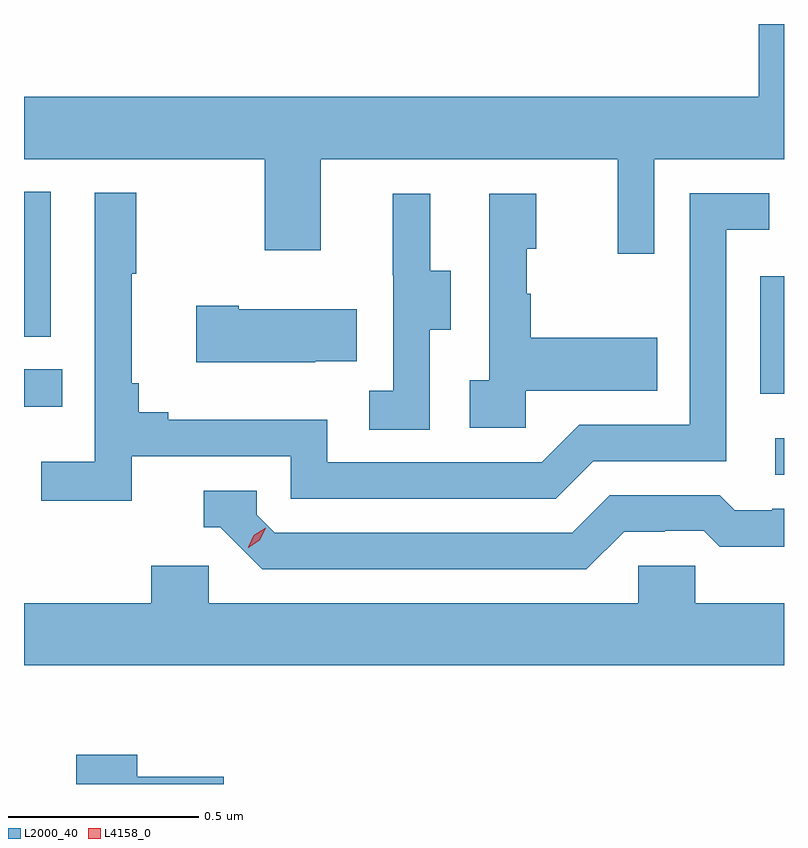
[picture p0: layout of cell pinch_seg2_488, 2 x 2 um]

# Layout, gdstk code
import gdstk
lib = gdstk.Library(unit=1e-6, precision=1e-09)
def R(c, l, rs):  # rectangles x0, y0, x1, y1
    for r in rs: c.add(gdstk.rectangle(r[:2], r[2:], *l))
def P(c, l, *ps):  # polygons
    for p in ps: c.add(gdstk.Polygon(p, *l))
L2000_40 = (2000, 40)
L4158_0 = (4158, 0)

pinch_seg2_488 = lib.new_cell('pinch_seg2_488')
R(pinch_seg2_488, L2000_40, [(943.503,594.858,943.526,594.954), (941.526,595.037,941.627,595.136), (943.464,595.071,943.526,595.38), (941.526,595.221,941.596,595.603)])
P(pinch_seg2_488, L2000_40, [(943.185,595.688),(943.526,595.688),(943.526,596.044),(943.46,596.044),(943.46,595.852),(941.526,595.852),(941.526,595.688),(942.16,595.688),(942.16,595.449),(942.307,595.449),(942.307,595.688),(943.088,595.688),(943.088,595.44),(943.185,595.44)],
  [(941.81,594.906),(942.228,594.906),(942.228,594.795),(942.925,594.795),(943.024,594.894),(943.374,594.894),(943.374,595.503),(943.487,595.503),(943.487,595.599),(943.278,595.599),(943.278,594.99),(942.987,594.99),(942.888,594.891),(942.324,594.891),(942.324,595.003),(941.905,595.003),(941.905,595.022),(941.828,595.022),(941.828,595.099),(941.809,595.099),(941.809,595.387),(941.821,595.387),(941.821,595.6),(941.712,595.6),(941.712,594.892),(941.571,594.892),(941.571,594.79),(941.81,594.79)],
  [(942.846,595.079),(943.193,595.079),(943.193,595.219),(942.859,595.219),(942.859,595.334),(942.849,595.334),(942.849,595.452),(942.874,595.452),(942.874,595.597),(942.75,595.597),(942.75,595.106),(942.699,595.106),(942.699,594.981),(942.846,594.981)],
  [(942.594,595.24),(942.649,595.24),(942.649,595.395),(942.595,595.395),(942.595,595.597),(942.497,595.597),(942.497,595.383),(942.498,595.383),(942.498,595.079),(942.435,595.079),(942.435,594.976),(942.594,594.976)],
  [(942.293,595.157),(942.401,595.157),(942.401,595.294),(942.091,595.294),(942.091,595.302),(941.979,595.302),(941.979,595.154),(942.293,595.154)],
  [(943.105,594.708),(943.212,594.708),(943.212,594.711),(943.315,594.711),(943.357,594.669),(943.526,594.669),(943.526,594.768),(943.495,594.768),(943.495,594.765),(943.396,594.765),(943.357,594.804),(943.068,594.804),(942.969,594.705),(942.186,594.705),(942.138,594.753),(942.138,594.816),(941.999,594.816),(941.999,594.72),(942.042,594.72),(942.153,594.609),(943.006,594.609)],
  [(943.526,594.52),(943.293,594.52),(943.293,594.618),(943.143,594.618),(943.143,594.52),(942.012,594.52),(942.012,594.618),(941.861,594.618),(941.861,594.52),(941.526,594.52),(941.526,594.356),(943.526,594.356)],
  [(942.052,594.063),(941.824,594.063),(941.824,594.121),(941.663,594.121),(941.663,594.044),(942.052,594.044)])
P(pinch_seg2_488, L4158_0, [(942.116,594.666),(942.116,594.667),(942.131,594.699),(942.162,594.719),(942.162,594.719),(942.162,594.719),(942.146,594.686),(942.116,594.666)])

lib.write_gds('pinch_seg2_488.gds')
